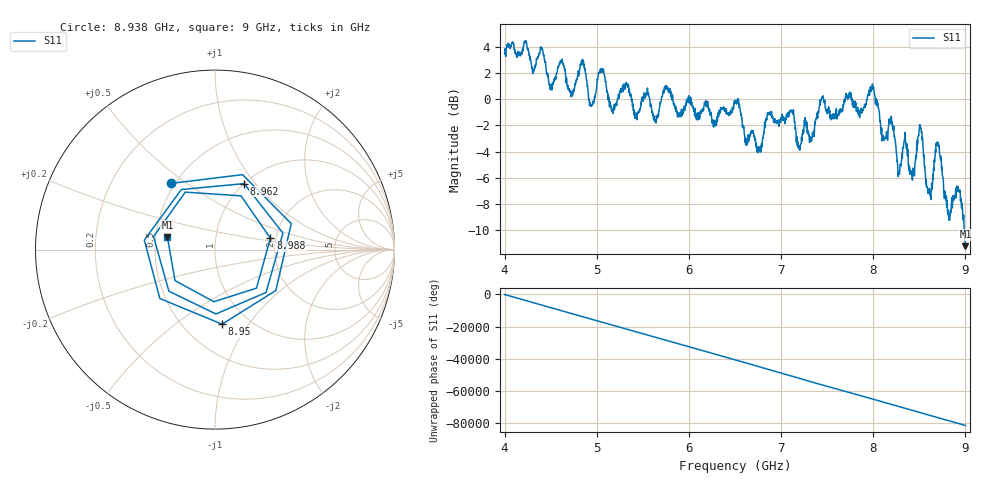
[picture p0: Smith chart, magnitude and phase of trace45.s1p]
! Created with skrf 1.8.0 (http://scikit-rf.org).
# Hz S RI R 50.0
!freq ReS11 ImS11
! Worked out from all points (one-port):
!   1601 points, 4 GHz to 9 GHz, reference 50 ohm
!   lowest |S11| = -11.2 dB at 9 GHz (marker M1), VSWR 1.76, Z = 28.8 + j4.38 ohm
!   |S11| at or under -10 dB: 8.987701 GHz to end of sweep
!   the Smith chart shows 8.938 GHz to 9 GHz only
!   S11 on the Smith chart (normalised r, x): 8.938 GHz: 0.48, +0.44; 8.95 GHz: 0.75, -0.76; 8.962 GHz: 1.00, +0.88; 8.988 GHz: 1.87, +0.26; 9 GHz: 0.58, +0.09
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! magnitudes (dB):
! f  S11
! 4 GHz  3.5
! 4.506 GHz  0.9
! 4.625 GHz  3.1
! 4.728 GHz  0.3
! 4.847 GHz  3.1
! 4.944 GHz  -0.5
! 5.047 GHz  2.1
! 5.25 GHz  0.5
! 5.875 GHz  -1.3
! 6.5 GHz  -0.3
! 6.759 GHz  -3.6
! 6.872 GHz  -1.1
! 7.125 GHz  -1.1
! 7.2 GHz  -3.7
! 7.75 GHz  0.2
! 7.991 GHz  1.2
! 8.278 GHz  -5.6
! 8.375 GHz  -3.8
! 8.425 GHz  -6.2
! 8.509 GHz  -2.2
! 8.603 GHz  -7.0
! 8.697 GHz  -3.5
! 8.819 GHz  -9.0
! 8.938 GHz  -7.1
! 8.95 GHz  -7.6
! 8.962 GHz  -7.9
! 8.988 GHz  -10.0
! 9 GHz  -11.2
